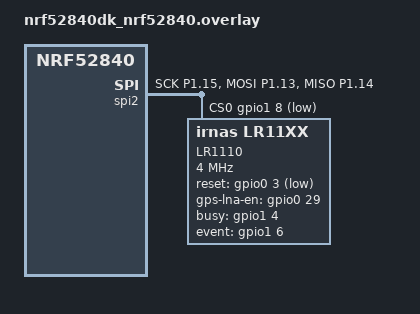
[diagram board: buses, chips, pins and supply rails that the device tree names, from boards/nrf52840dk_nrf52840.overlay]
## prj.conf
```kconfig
# Enable logging (it need to be disabled for low power)
CONFIG_PRINTK=y
CONFIG_GPIO=y
CONFIG_SERIAL=y
CONFIG_CONSOLE=y
CONFIG_UART_CONSOLE=y
CONFIG_LOG=y
CONFIG_LOG_DEFAULT_LEVEL=4
CONFIG_LOG_BACKEND_UART=y

CONFIG_SPI=y
CONFIG_LR11XX_LIB=y
CONFIG_LR11XX_LOG_LEVEL_INF=y

CONFIG_PINCTRL=y
CONFIG_NEWLIB_LIBC=y

CONFIG_MAIN_STACK_SIZE=4096
```

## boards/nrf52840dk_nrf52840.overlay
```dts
&spi1 {
    status = "disabled";
};

&spi2 {
    compatible = "nordic,nrf-spi";
    status = "okay";
    pinctrl-0 = <&spi2_default>;
    pinctrl-1 = <&spi2_sleep>;
    pinctrl-names = "default", "sleep";

    cs-gpios = <&gpio1 8 GPIO_ACTIVE_LOW>;
    lr1110: lr1110@0 {
        compatible = "irnas,lr11xx";
        reg = <0>;
        spi-max-frequency = <4000000>;
        label = "LR1110";

        reset-gpios = <&gpio0 3 GPIO_ACTIVE_LOW>;
        gps-lna-en-gpios = <&gpio0 29 0>;
        busy-gpios = <&gpio1 4 GPIO_ACTIVE_HIGH>;
        event-gpios = <&gpio1 6 (GPIO_ACTIVE_HIGH | GPIO_PULL_DOWN) >;

        rf-sw-enable = <5 6 7>;
        rf-sw-rx-mode = <5>;
        rf-sw-tx-mode = <5 6>;
        rf-sw-tx-hp-mode = <6>;
        rf-sw-gnss-mode = <7>;
    };
};

&pinctrl {
	spi2_default: spi2_default {
		group1 {
			psels = <NRF_PSEL(SPIM_SCK, 1, 15)>,
			        <NRF_PSEL(SPIM_MOSI, 1, 13)>,
			        <NRF_PSEL(SPIM_MISO, 1, 14)>;
		};
	};

	spi2_sleep: spi2_sleep {
		group1 {
			psels = <NRF_PSEL(SPIM_SCK, 1, 15)>,
			        <NRF_PSEL(SPIM_MOSI, 1, 13)>,
			        <NRF_PSEL(SPIM_MISO, 1, 14)>;
			low-power-enable;
		};
	};
};
```

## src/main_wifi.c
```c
/*!
 * @file      main_wifi.c
 *
 * @brief     Wi-Fi scan example for LR11xx chip
 *
 * The Clear BSD License
 * Copyright Semtech Corporation 2022. All rights reserved.
 *
 * Redistribution and use in source and binary forms, with or without
 * modification, are permitted (subject to the limitations in the disclaimer
 * below) provided that the following conditions are met:
 *     * Redistributions of source code must retain the above copyright
 *       notice, this list of conditions and the following disclaimer.
 *     * Redistributions in binary form must reproduce the above copyright
 *       notice, this list of conditions and the following disclaimer in the
 *       documentation and/or other materials provided with the distribution.
 *     * Neither the name of the Semtech corporation nor the
 *       names of its contributors may be used to endorse or promote products
 *       derived from this software without specific prior written permission.
 *
 * NO EXPRESS OR IMPLIED LICENSES TO ANY PARTY'S PATENT RIGHTS ARE GRANTED BY
 * THIS LICENSE. THIS SOFTWARE IS PROVIDED BY THE COPYRIGHT HOLDERS AND
 * CONTRIBUTORS "AS IS" AND ANY EXPRESS OR IMPLIED WARRANTIES, INCLUDING, BUT
 * NOT LIMITED TO, THE IMPLIED WARRANTIES OF MERCHANTABILITY AND FITNESS FOR A
 * PARTICULAR PURPOSE ARE DISCLAIMED. IN NO EVENT SHALL SEMTECH CORPORATION BE
 * LIABLE FOR ANY DIRECT, INDIRECT, INCIDENTAL, SPECIAL, EXEMPLARY, OR
 * CONSEQUENTIAL DAMAGES (INCLUDING, BUT NOT LIMITED TO, PROCUREMENT OF
 * SUBSTITUTE GOODS OR SERVICES; LOSS OF USE, DATA, OR PROFITS; OR BUSINESS
 * INTERRUPTION) HOWEVER CAUSED AND ON ANY THEORY OF LIABILITY, WHETHER IN
 * CONTRACT, STRICT LIABILITY, OR TORT (INCLUDING NEGLIGENCE OR OTHERWISE)
 * ARISING IN ANY WAY OUT OF THE USE OF THIS SOFTWARE, EVEN IF ADVISED OF THE
 * POSSIBILITY OF SUCH DAMAGE.
 */

/*
 * -----------------------------------------------------------------------------
 * --- DEPENDENCIES ------------------------------------------------------------
 */

#include <stdio.h>
#include <string.h>
#include <stdlib.h>
#include <zephyr/kernel.h>
#include <zephyr/types.h>
#include <zephyr/device.h>
#include <zephyr/devicetree.h>

#include "main_wifi.h"
#include "apps_common.h"
#include "lr11xx_board.h"
#include "lr11xx_wifi.h"
#include "lr11xx_system.h"
#include "wifi_configuration_base.h"
#include "lr11xx_wifi_types_str.h"
#include "wifi_result_printers.h"

#include "wifi_scan.h"
#include "wifi_scan_time_limit.h"
#include "wifi_scan_country_code.h"
#include "wifi_scan_country_code_time_limit.h"

#include <zephyr/logging/log.h>
LOG_MODULE_REGISTER(main);

/*
 * -----------------------------------------------------------------------------
 * --- PRIVATE MACROS-----------------------------------------------------------
 */

/**
 * @brief Duration of the wait after printing example configuration on the serial port
 *
 * Expressed in milliseconds
 */
#define DELAY_AFTER_PRINT_CONFIGURATION_MS ( 800 )

/**
 * @brief LR11xx interrupt mask used by the application
 */
#define IRQ_MASK ( LR11XX_SYSTEM_IRQ_WIFI_SCAN_DONE )

/*
 * -----------------------------------------------------------------------------
 * --- PRIVATE TYPES -----------------------------------------------------------
 */

typedef enum
{
    WIFI_SCAN,
    WIFI_SCAN_TIME_LIMIT,
    WIFI_SCAN_COUNTRY_CODE,
    WIFI_SCAN_COUNTRY_CODE_TIME_LIMIT,
} wifi_demo_to_run_t;

/*
 * -----------------------------------------------------------------------------
 * --- PRIVATE CONSTANTS -------------------------------------------------------
 */

#define APP_PARTIAL_SLEEP true

const wifi_demo_to_run_t          wifi_demo_to_run        = WIFI_DEMO_TO_RUN;
const lr11xx_wifi_result_format_t wifi_scan_result_format = WIFI_RESULT_FORMAT;

/*
 * -----------------------------------------------------------------------------
 * --- PRIVATE VARIABLES -------------------------------------------------------
 */

const struct device *context = DEVICE_DT_GET(DT_NODELABEL(lr11xx));
static uint32_t              number_of_scan = 0;

/*
 * -----------------------------------------------------------------------------
 * --- PRIVATE FUNCTIONS DECLARATION -------------------------------------------
 */

/**
 * @brief Handle the start of a new Wi-Fi scan
 *
 * It also check that a new Wi-Fi scan can start
 *
 */
static void start_scan( void );

/**
 * @brief Handle the printing of results
 *
 * It includes the printing of cumulative timings.
 *
 */
static void fetch_and_print_results( void );

/**
 * @brief Helper function that indicate if a new scan can be started or if the demo is terminated
 *
 * @return true New scan can start
 * @return false The demo is terminated
 */
static bool can_execute_next_scan( void );

/**
 * @brief Get the interface name depending on example selected
 *
 * @return const char* The interface name
 */
const char* get_interface_name( void );

/**
 * @brief Print the configuration depending on the example selected
 */
void print_configuration( void );

/**
 * @brief Call the scan API depending on the example selected
 *
 * @param context Chip implementation context
 */
void call_scan( const void* context );

/**
 * @brief Print the Wi-Fi scan result depending on the example and the result format selected
 *
 * @param context Chip implementation context
 */
void result_printer( const void* context );

/*
 * -----------------------------------------------------------------------------
 * --- PUBLIC FUNCTIONS DEFINITION ---------------------------------------------
 */

/**
 * @brief Main application entry point.
 */
int main( void )
{
    int ret = 0;

    LOG_INF( "===== LR11xx %s example =====\n", get_interface_name( ) );

    apps_common_lr11xx_system_init( ( void* ) context );

    apps_common_lr11xx_fetch_and_print_version( ( void* ) context );

    LOG_INF("Set dio irq mask");
    ret = lr11xx_system_set_dio_irq_params( context, IRQ_MASK, 0 );
    if(ret)
    {
        LOG_ERR("Failed to set dio irq params.");
    }

    LOG_INF("Clear irq status");
    ret = lr11xx_system_clear_irq_status( context, LR11XX_SYSTEM_IRQ_ALL_MASK );
    if(ret)
    {
        LOG_ERR("Failed to set dio irq params.");
    }

    apps_common_lr11xx_enable_irq(context);

    // Check that the Wi-Fi format and Wi-Fi scan mode are compatible before starting the example
    const bool is_compatible = lr11xx_wifi_are_scan_mode_result_format_compatible( WIFI_SCAN_MODE, WIFI_RESULT_FORMAT );
    if( is_compatible == false )
    {
        LOG_ERR( "Wi-Fi Scan mode %s and Wi-Fi format %s are not compatible",
                             lr11xx_wifi_mode_to_str( WIFI_SCAN_MODE ),
                             lr11xx_wifi_result_format_to_str( WIFI_RESULT_FORMAT ) );
    }
    print_configuration( );

    // This delay leaves some time to read the configuration on the terminal emulator
    k_sleep( K_MSEC(DELAY_AFTER_PRINT_CONFIGURATION_MS) );

    start_scan( );

    while( 1 )
    {
        apps_common_lr11xx_irq_process( context, IRQ_MASK );
        k_sleep(K_MSEC(1));
    }
}

void start_scan( void )
{
    int ret = 0;

    if( can_execute_next_scan( ) )
    {
        ret = lr11xx_wifi_reset_cumulative_timing( context );
        if(ret)
        {
            LOG_ERR("Failed to reset cumulative timing.");
        }

        call_scan( context );
    }
};

void fetch_and_print_results( void )
{
    int ret = 0;

    lr11xx_wifi_cumulative_timings_t cumulative_timings = { 0 };
    ret = lr11xx_wifi_read_cumulative_timing( context, &cumulative_timings );
    if(ret)
    {
        LOG_ERR("Failed to read cumulative timing.");
    }

    LOG_INF( "== Scan #%u ==", number_of_scan );
    LOG_INF( "Cummulative timings:" );
    LOG_INF( "  -> Demodulation: %u us", cumulative_timings.demodulation_us );
    LOG_INF( "  -> Capture: %u us", cumulative_timings.rx_capture_us );
    LOG_INF( "  -> Correlation: %u us", cumulative_timings.rx_correlation_us );
    LOG_INF( "  -> Detection: %u us", cumulative_timings.rx_detection_us );
    LOG_INF( "  => Total : %u us\n",
                          cumulative_timings.demodulation_us + cumulative_timings.rx_capture_us +
                              cumulative_timings.rx_correlation_us + cumulative_timings.rx_detection_us );
    result_printer( context );
}

bool can_execute_next_scan( void )
{
    const uint32_t max_number_of_scan = WIFI_MAX_NUMBER_OF_SCAN;
    if( max_number_of_scan == 0 )
    {
        // If the maximum number of scan is set to 0, the example run indefinitely
        return true;
    }
    else
    {
        if( number_of_scan < max_number_of_scan )
        {
            return true;
        }
        else
        {
            return false;
        }
    }
}

void on_wifi_scan_done( void )
{
    number_of_scan++;

    fetch_and_print_results( );
    start_scan( );
}

const char* get_interface_name( void )
{
    switch( wifi_demo_to_run )
    {
    case WIFI_SCAN:
    {
        return wifi_scan_get_example_name( );
    }

    case WIFI_SCAN_TIME_LIMIT:
    {
        return wifi_scan_time_limit_get_example_name( );
    }

    case WIFI_SCAN_COUNTRY_CODE:
    {
        return wifi_scan_country_code_get_example_name( );
    }

    case WIFI_SCAN_COUNTRY_CODE_TIME_LIMIT:
    {
        return wifi_scan_country_code_time_limit_get_example_name( );
    }

    default:
    {
        LOG_ERR( "Unknown interface: 0x%02x", wifi_demo_to_run );
        return ( const char* ) "unknown";
    }
    }
}

void print_configuration( void )
{
    switch( wifi_demo_to_run )
    {
    case WIFI_SCAN:
    {
        return wifi_scan_print_configuration( );
    }

    case WIFI_SCAN_TIME_LIMIT:
    {
        return wifi_scan_time_limit_print_configuration( );
    }

    case WIFI_SCAN_COUNTRY_CODE:
    {
        return wifi_scan_country_code_print_configuration( );
    }

    case WIFI_SCAN_COUNTRY_CODE_TIME_LIMIT:
    {
        return wifi_scan_country_code_time_limit_print_configuration( );
    }

    default:
    {
        LOG_ERR( "Unknown interface: 0x%02x", wifi_demo_to_run );
    }
    }
}

void call_scan( const void* context )
{

    switch( wifi_demo_to_run )
    {
    case WIFI_SCAN:
    {
        return wifi_scan_call_api_scan( context );
    }

    case WIFI_SCAN_TIME_LIMIT:
    {
        return wifi_scan_time_limit_call_api_scan( context );
    }

    case WIFI_SCAN_COUNTRY_CODE:
    {
        return wifi_scan_country_code_call_api_scan( context );
    }

    case WIFI_SCAN_COUNTRY_CODE_TIME_LIMIT:
    {
        return wifi_scan_country_code_time_limit_call_api_scan( context );
    }

    default:
    {
        LOG_ERR( "Unknown interface: 0x%02x", wifi_demo_to_run );
    }
    }
}

void result_printer( const void* context )
{
    switch( wifi_demo_to_run )
    {
    case WIFI_SCAN:
    case WIFI_SCAN_TIME_LIMIT:
    {
        switch( wifi_scan_result_format )
        {
        case LR11XX_WIFI_RESULT_FORMAT_BASIC_COMPLETE:
        {
            wifi_fetch_and_print_scan_basic_complete_results( context );
            break;
        }
        case LR11XX_WIFI_RESULT_FORMAT_BASIC_MAC_TYPE_CHANNEL:
        {
            wifi_fetch_and_print_scan_basic_mac_type_channel_results( context );
            break;
        }
        case LR11XX_WIFI_RESULT_FORMAT_EXTENDED_FULL:
        {
            wifi_fetch_and_print_scan_extended_complete_results( context );
            break;
        }
        }
        break;
    }

    case WIFI_SCAN_COUNTRY_CODE:
    case WIFI_SCAN_COUNTRY_CODE_TIME_LIMIT:
    {
        wifi_fetch_and_print_scan_country_code_results( context );
        break;
    }

    default:
    {
        LOG_ERR( "Unknown interface: 0x%02x", wifi_demo_to_run );
    }
    }
}
```

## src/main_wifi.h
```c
/*!
 * @file      main_wifi.h
 *
 * @brief     Wi-Fi scan example for LR11xx chip
 *
 * The Clear BSD License
 * Copyright Semtech Corporation 2022. All rights reserved.
 *
 * Redistribution and use in source and binary forms, with or without
 * modification, are permitted (subject to the limitations in the disclaimer
 * below) provided that the following conditions are met:
 *     * Redistributions of source code must retain the above copyright
 *       notice, this list of conditions and the following disclaimer.
 *     * Redistributions in binary form must reproduce the above copyright
 *       notice, this list of conditions and the following disclaimer in the
 *       documentation and/or other materials provided with the distribution.
 *     * Neither the name of the Semtech corporation nor the
 *       names of its contributors may be used to endorse or promote products
 *       derived from this software without specific prior written permission.
 *
 * NO EXPRESS OR IMPLIED LICENSES TO ANY PARTY'S PATENT RIGHTS ARE GRANTED BY
 * THIS LICENSE. THIS SOFTWARE IS PROVIDED BY THE COPYRIGHT HOLDERS AND
 * CONTRIBUTORS "AS IS" AND ANY EXPRESS OR IMPLIED WARRANTIES, INCLUDING, BUT
 * NOT LIMITED TO, THE IMPLIED WARRANTIES OF MERCHANTABILITY AND FITNESS FOR A
 * PARTICULAR PURPOSE ARE DISCLAIMED. IN NO EVENT SHALL SEMTECH CORPORATION BE
 * LIABLE FOR ANY DIRECT, INDIRECT, INCIDENTAL, SPECIAL, EXEMPLARY, OR
 * CONSEQUENTIAL DAMAGES (INCLUDING, BUT NOT LIMITED TO, PROCUREMENT OF
 * SUBSTITUTE GOODS OR SERVICES; LOSS OF USE, DATA, OR PROFITS; OR BUSINESS
 * INTERRUPTION) HOWEVER CAUSED AND ON ANY THEORY OF LIABILITY, WHETHER IN
 * CONTRACT, STRICT LIABILITY, OR TORT (INCLUDING NEGLIGENCE OR OTHERWISE)
 * ARISING IN ANY WAY OUT OF THE USE OF THIS SOFTWARE, EVEN IF ADVISED OF THE
 * POSSIBILITY OF SUCH DAMAGE.
 */

#ifndef MAIN_WIFI_H
#define MAIN_WIFI_H

#ifdef __cplusplus
extern "C" {
#endif

/*
 * -----------------------------------------------------------------------------
 * --- DEPENDENCIES ------------------------------------------------------------
 */

#include "lr11xx_wifi_types.h"

/*
 * -----------------------------------------------------------------------------
 * --- PUBLIC MACROS -----------------------------------------------------------
 */

/*
 * COMMON WI-FI PARAMETERS
 */

/**
 * @brief Selection of the demo to run.
 *
 * It must be one of wifi_demo_to_run_t enumeration
 *
 */
#define WIFI_DEMO_TO_RUN ( WIFI_SCAN_TIME_LIMIT )

/**
 * @brief Wi-Fi channels to scan
 *
 * It is expressed as 16 bits mask of channels
 *
 */
#define WIFI_CHANNEL_MASK ( 0x0421 )

/**
 * @brief Maximum number of results to scan for
 */
#define WIFI_MAX_RESULTS ( 10 )

/**
 * @brief Maximum number of scan to execute
 *
 * If set to 0, the application execute scan indefinitely
 */
#define WIFI_MAX_NUMBER_OF_SCAN ( 0 )

/*
 * WI-FI SCAN PARAMETERS
 */

/**
 * @brief Wi-Fi signal type to scan for
 */
#define WIFI_SIGNAL_TYPE ( LR11XX_WIFI_TYPE_SCAN_B )

/**
 * @brief Wi-Fi scan mode to use
 */
#define WIFI_SCAN_MODE ( LR11XX_WIFI_SCAN_MODE_FULL_BEACON )

/**
 * @brief Wi-Fi result formats
 *
 * Must be one of lr11xx_wifi_result_format_t
 *
 * @warning The possible value depends on the value provided in WIFI_SCAN_MODE:
 * WIFI_RESULT_FORMAT can be:
 *   - LR11XX_WIFI_RESULT_FORMAT_BASIC_COMPLETE or LR11XX_WIFI_RESULT_FORMAT_BASIC_MAC_TYPE_CHANNEL if WIFI_SCAN_MODE
 * is:
 *       - LR11XX_WIFI_SCAN_MODE_BEACON or
 *       - LR11XX_WIFI_SCAN_MODE_BEACON_AND_PKT
 *   - LR11XX_WIFI_RESULT_FORMAT_EXTENDED_FULL if WIFI_SCAN_MODE is:
 *       - LR11XX_WIFI_SCAN_MODE_FULL_BEACON or
 *       - LR11XX_WIFI_SCAN_MODE_UNTIL_SSID
 */
#define WIFI_RESULT_FORMAT ( LR11XX_WIFI_RESULT_FORMAT_EXTENDED_FULL )

/*
 * NO TIME LIMIT PARAMETERS
 */

/**
 * @brief Number of scan per channel to execute
 */
#define WIFI_NB_SCAN_PER_CHANNEL ( 10 )

/**
 * @brief Maximum duration of the scan process
 */
#define WIFI_TIMEOUT_PER_SCAN ( 90 )

/**
 * @brief Indicate if scan on one channel should stop on the first preamble search timeout detected
 */
#define WIFI_ABORT_ON_TIMEOUT ( true )

/*
 * TIME LIMIT PARAMETERS
 */

/**
 * @brief Maximum scan duration spent per channel
 */
#define WIFI_TIMEOUT_PER_CHANNEL ( 1000 )

/**
 * @brief Maximum duration of the scan process
 */
#define WIFI_TIMEOUT_PER_SCAN ( 90 )

/*
 * -----------------------------------------------------------------------------
 * --- PUBLIC CONSTANTS --------------------------------------------------------
 */

/*
 * -----------------------------------------------------------------------------
 * --- PUBLIC TYPES ------------------------------------------------------------
 */

/*
 * -----------------------------------------------------------------------------
 * --- PUBLIC FUNCTIONS PROTOTYPES ---------------------------------------------
 */

#ifdef __cplusplus
}
#endif

#endif  // MAIN_WIFI_H

/* --- EOF ------------------------------------------------------------------ */
```

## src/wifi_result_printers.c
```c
/*!
 * @file      wifi_result_printers.c
 *
 * @brief     Wi-Fi result printers
 *
 * The Clear BSD License
 * Copyright Semtech Corporation 2022. All rights reserved.
 *
 * Redistribution and use in source and binary forms, with or without
 * modification, are permitted (subject to the limitations in the disclaimer
 * below) provided that the following conditions are met:
 *     * Redistributions of source code must retain the above copyright
 *       notice, this list of conditions and the following disclaimer.
 *     * Redistributions in binary form must reproduce the above copyright
 *       notice, this list of conditions and the following disclaimer in the
 *       documentation and/or other materials provided with the distribution.
 *     * Neither the name of the Semtech corporation nor the
 *       names of its contributors may be used to endorse or promote products
 *       derived from this software without specific prior written permission.
 *
 * NO EXPRESS OR IMPLIED LICENSES TO ANY PARTY'S PATENT RIGHTS ARE GRANTED BY
 * THIS LICENSE. THIS SOFTWARE IS PROVIDED BY THE COPYRIGHT HOLDERS AND
 * CONTRIBUTORS "AS IS" AND ANY EXPRESS OR IMPLIED WARRANTIES, INCLUDING, BUT
 * NOT LIMITED TO, THE IMPLIED WARRANTIES OF MERCHANTABILITY AND FITNESS FOR A
 * PARTICULAR PURPOSE ARE DISCLAIMED. IN NO EVENT SHALL SEMTECH CORPORATION BE
 * LIABLE FOR ANY DIRECT, INDIRECT, INCIDENTAL, SPECIAL, EXEMPLARY, OR
 * CONSEQUENTIAL DAMAGES (INCLUDING, BUT NOT LIMITED TO, PROCUREMENT OF
 * SUBSTITUTE GOODS OR SERVICES; LOSS OF USE, DATA, OR PROFITS; OR BUSINESS
 * INTERRUPTION) HOWEVER CAUSED AND ON ANY THEORY OF LIABILITY, WHETHER IN
 * CONTRACT, STRICT LIABILITY, OR TORT (INCLUDING NEGLIGENCE OR OTHERWISE)
 * ARISING IN ANY WAY OUT OF THE USE OF THIS SOFTWARE, EVEN IF ADVISED OF THE
 * POSSIBILITY OF SUCH DAMAGE.
 */

/*
 * -----------------------------------------------------------------------------
 * --- DEPENDENCIES ------------------------------------------------------------
 */
#include <zephyr/kernel.h>
#include <zephyr/types.h>

#include "lr11xx_wifi.h"
#include "lr11xx_wifi_types_str.h"
#include "wifi_result_printers.h"

#include <zephyr/logging/log.h>
LOG_MODULE_REGISTER(wifi);

/*
 * -----------------------------------------------------------------------------
 * --- PRIVATE MACROS-----------------------------------------------------------
 */

/*
 * -----------------------------------------------------------------------------
 * --- PRIVATE CONSTANTS -------------------------------------------------------
 */

/*
 * -----------------------------------------------------------------------------
 * --- PRIVATE TYPES -----------------------------------------------------------
 */

/*
 * -----------------------------------------------------------------------------
 * --- PRIVATE VARIABLES -------------------------------------------------------
 */

/*
 * -----------------------------------------------------------------------------
 * --- PRIVATE FUNCTIONS DECLARATION -------------------------------------------
 */

void print_mac_address( const char* prefix, lr11xx_wifi_mac_address_t mac );

/*
 * -----------------------------------------------------------------------------
 * --- PUBLIC FUNCTIONS DEFINITION ---------------------------------------------
 */

void wifi_fetch_and_print_scan_basic_mac_type_channel_results( const void* context )
{
    uint8_t n_results = 0;
    int ret = 0;
    ret = lr11xx_wifi_get_nb_results( context, &n_results );
    if(ret)
    {
        LOG_ERR("Failed to obtain number of results.");
    }

    for( uint8_t result_index = 0; result_index < n_results; result_index++ )
    {
        lr11xx_wifi_basic_mac_type_channel_result_t local_result = { 0 };
        ret = lr11xx_wifi_read_basic_mac_type_channel_results( context, result_index, 1, &local_result );
        if(ret)
        {
            LOG_ERR("Failed to read basic mac type channel results.");
        }

        lr11xx_wifi_mac_origin_t mac_origin    = LR11XX_WIFI_ORIGIN_BEACON_FIX_AP;
        lr11xx_wifi_channel_t    channel       = LR11XX_WIFI_NO_CHANNEL;
        bool                     rssi_validity = false;
        lr11xx_wifi_parse_channel_info( local_result.channel_info_byte, &channel, &rssi_validity, &mac_origin );

        LOG_INF( "Result %u/%u", result_index + 1, n_results );
        print_mac_address( "  -> MAC address: ", local_result.mac_address );
        LOG_INF( "  -> Channel: %s", lr11xx_wifi_channel_to_str( channel ) );
        LOG_INF( "  -> MAC origin: %s", ( rssi_validity ? "From gateway" : "From end device" ) );
        LOG_INF( "  -> Signal type: %s\n",
            lr11xx_wifi_signal_type_result_to_str(
                lr11xx_wifi_extract_signal_type_from_data_rate_info( local_result.data_rate_info_byte ) ) );
    }
}

void wifi_fetch_and_print_scan_basic_complete_results( const void* context )
{
    uint8_t n_results = 0;
    int ret = 0;
    ret = lr11xx_wifi_get_nb_results( context, &n_results );
    if(ret)
    {
        LOG_ERR("Failed to obtain number of results.");
    }

    for( uint8_t result_index = 0; result_index < n_results; result_index++ )
    {
        lr11xx_wifi_basic_complete_result_t local_result = { 0 };
        ret = lr11xx_wifi_read_basic_complete_results( context, result_index, 1, &local_result );
        if(ret)
        {
            LOG_ERR("Failed to read basic complete results.");
        }

        lr11xx_wifi_mac_origin_t mac_origin    = LR11XX_WIFI_ORIGIN_BEACON_FIX_AP;
        lr11xx_wifi_channel_t    channel       = LR11XX_WIFI_NO_CHANNEL;
        bool                     rssi_validity = false;
        lr11xx_wifi_parse_channel_info( local_result.channel_info_byte, &channel, &rssi_validity, &mac_origin );

        lr11xx_wifi_frame_type_t     frame_type     = LR11XX_WIFI_FRAME_TYPE_MANAGEMENT;
        lr11xx_wifi_frame_sub_type_t frame_sub_type = 0;
        bool                         to_ds          = false;
        bool                         from_ds        = false;
        lr11xx_wifi_parse_frame_type_info( local_result.frame_type_info_byte, &frame_type, &frame_sub_type, &to_ds,
                                           &from_ds );

        LOG_INF( "Result %u/%u", result_index + 1, n_results );
        print_mac_address( "  -> MAC address: ", local_result.mac_address );
        LOG_INF( "  -> Channel: %s", lr11xx_wifi_channel_to_str( channel ) );
        LOG_INF( "  -> MAC origin: %s", ( rssi_validity ? "From gateway" : "From end device" ) );
        LOG_INF(
            "  -> Signal type: %s",
            lr11xx_wifi_signal_type_result_to_str(
                lr11xx_wifi_extract_signal_type_from_data_rate_info( local_result.data_rate_info_byte ) ) );
        LOG_INF( "  -> Frame type: %s", lr11xx_wifi_frame_type_to_str( frame_type ) );
        LOG_INF( "  -> Frame sub-type: 0x%02X", frame_sub_type );
        LOG_INF( "  -> FromDS/ToDS: %s / %s", ( ( from_ds == true ) ? "true" : "false" ),
                              ( ( to_ds == true ) ? "true" : "false" ) );
        LOG_INF( "  -> Phi Offset: %i", local_result.phi_offset );
        LOG_INF( "  -> Timestamp: %llu us", local_result.timestamp_us );
        LOG_INF( "  -> Beacon period: %u TU\n", local_result.beacon_period_tu );
    }
}

void wifi_fetch_and_print_scan_extended_complete_results( const void* context )
{
    uint8_t n_results = 0;
    int ret = 0;
    ret = lr11xx_wifi_get_nb_results( context, &n_results );
    if(ret)
    {
        LOG_ERR("Failed to obtain number of results.");
    }

    for( uint8_t result_index = 0; result_index < n_results; result_index++ )
    {
        lr11xx_wifi_extended_full_result_t local_result = { 0 };
        ret = lr11xx_wifi_read_extended_full_results( context, result_index, 1, &local_result );
        if(ret)
        {
            LOG_ERR("Failed to read extended full results.");
        }

        lr11xx_wifi_mac_origin_t mac_origin    = LR11XX_WIFI_ORIGIN_BEACON_FIX_AP;
        lr11xx_wifi_channel_t    channel       = LR11XX_WIFI_NO_CHANNEL;
        bool                     rssi_validity = false;
        lr11xx_wifi_parse_channel_info( local_result.channel_info_byte, &channel, &rssi_validity, &mac_origin );

        lr11xx_wifi_signal_type_result_t wifi_signal_type = { 0 };
        lr11xx_wifi_datarate_t           wifi_data_rate   = { 0 };
        lr11xx_wifi_parse_data_rate_info( local_result.data_rate_info_byte, &wifi_signal_type, &wifi_data_rate );

        LOG_INF( "Result %u/%u", result_index + 1, n_results );
        print_mac_address( "  -> MAC address 1: ", local_result.mac_address_1 );
        print_mac_address( "  -> MAC address 2: ", local_result.mac_address_2 );
        print_mac_address( "  -> MAC address 3: ", local_result.mac_address_3 );
        LOG_INF( "  -> Country code: %c%c", ( uint8_t ) ( local_result.country_code[0] ),
                              ( uint8_t ) ( local_result.country_code[1] ) );
        LOG_INF( "  -> Channel: %s", lr11xx_wifi_channel_to_str( channel ) );
        LOG_INF( "  -> Signal type: %s", lr11xx_wifi_signal_type_result_to_str( wifi_signal_type ) );
        LOG_INF( "  -> RSSI: %i dBm", local_result.rssi );
        LOG_INF( "  -> Rate index: 0x%02x", local_result.rate );
        LOG_INF( "  -> Service: 0x%04x", local_result.service );
        LOG_INF( "  -> Length: %u", local_result.length );
        LOG_INF( "  -> Frame control: 0x%04X", local_result.frame_control );
        LOG_INF( "  -> Data rate: %s", lr11xx_wifi_datarate_to_str( wifi_data_rate ) );
        LOG_INF( "  -> MAC origin: %s", ( rssi_validity ? "From gateway" : "From end device" ) );
        LOG_INF( "  -> Phi Offset: %i", local_result.phi_offset );
        LOG_INF( "  -> Timestamp: %llu us", local_result.timestamp_us );
        LOG_INF( "  -> Beacon period: %u TU", local_result.beacon_period_tu );
        LOG_INF( "  -> Sequence control: 0x%04x", local_result.seq_control );
        LOG_INF( "  -> IO regulation: 0x%02x", local_result.io_regulation );
        LOG_INF( "  -> Current channel: %s",
                              lr11xx_wifi_channel_to_str( local_result.current_channel ) );
        LOG_INF( "  -> FCS status:\n    - %s",
                              ( local_result.fcs_check_byte.is_fcs_checked ) ? "Is present" : "Is not present" );
        LOG_INF( "    - %s", ( local_result.fcs_check_byte.is_fcs_ok ) ? "Valid" : "Not valid" );
    }
}

void wifi_fetch_and_print_scan_country_code_results( const void* context )
{
    uint8_t n_results = 0;
    int ret = 0;
    ret = lr11xx_wifi_get_nb_results( context, &n_results );
    if(ret)
    {
        LOG_ERR("Failed to obtain number of results.");
    }

    for( uint8_t result_index = 0; result_index < n_results; result_index++ )
    {
        lr11xx_wifi_country_code_t local_result = { 0 };
        ret = lr11xx_wifi_read_country_code_results( context, result_index, 1, &local_result );
        if(ret)
        {
            LOG_ERR("Failed to read country code results.");
        }

        lr11xx_wifi_mac_origin_t mac_origin    = LR11XX_WIFI_ORIGIN_BEACON_FIX_AP;
        lr11xx_wifi_channel_t    channel       = LR11XX_WIFI_NO_CHANNEL;
        bool                     rssi_validity = false;
        lr11xx_wifi_parse_channel_info( local_result.channel_info_byte, &channel, &rssi_validity, &mac_origin );

        LOG_INF( "Result %u/%u\n", result_index + 1, n_results );
        print_mac_address( "  -> MAC address: ", local_result.mac_address );
        LOG_INF( "  -> Country code: %c%c\n", local_result.country_code[0], local_result.country_code[1] );
        LOG_INF( "  -> Channel: %s\n", lr11xx_wifi_channel_to_str( channel ) );
        LOG_INF( "  -> MAC origin: %s\n", ( rssi_validity ? "From gateway" : "From end device" ) );
    }
}

void print_mac_address( const char* prefix, lr11xx_wifi_mac_address_t mac )
{
    LOG_INF( "%s%02x:%02x:%02x:%02x:%02x:%02x", prefix, mac[0], mac[1], mac[2], mac[3], mac[4], mac[5] );
}
```
